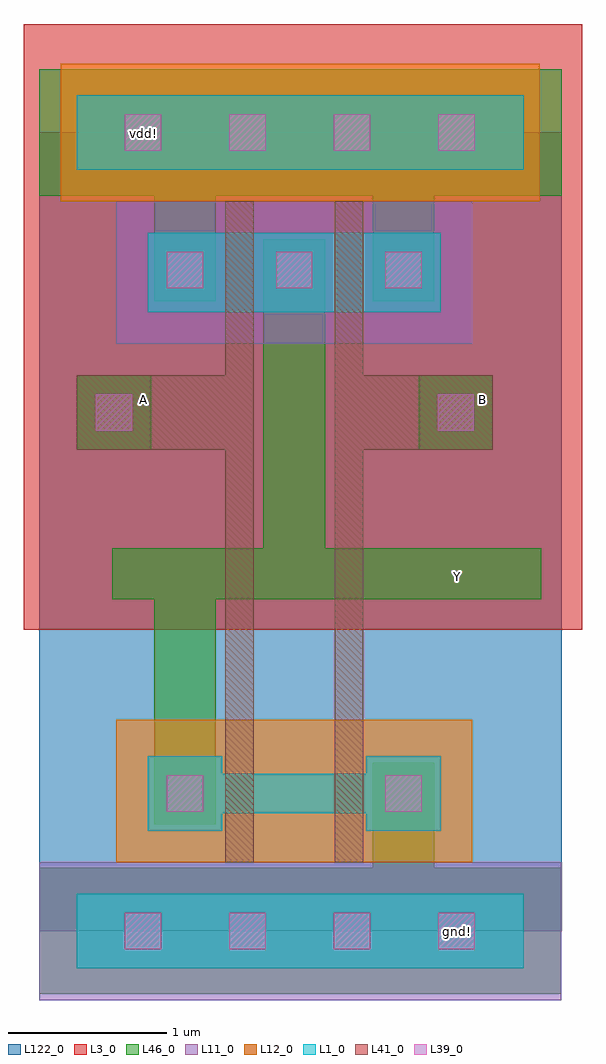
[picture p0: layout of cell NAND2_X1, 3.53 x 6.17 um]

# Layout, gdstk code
import gdstk
lib = gdstk.Library(unit=1e-6, precision=1e-09)
def R(c, l, rs):  # rectangles x0, y0, x1, y1
    for r in rs: c.add(gdstk.rectangle(r[:2], r[2:], *l))
def A(c, l, x, y, w, h, nx, ny, dx, dy):  # array of equal rectangles
    R(c, l, [(x+i*dx, y+j*dy, x+i*dx+w, y+j*dy+h) for i in range(nx) for j in range(ny)])
L1_0 = (1, 0)
L3_0 = (3, 0)
L11_0 = (11, 0)
L12_0 = (12, 0)
L39_0 = (39, 0)
L41_0 = (41, 0)
L46_0 = (46, 0)
L122_0 = (122, 0)

nand2_x1 = lib.new_cell('NAND2_X1')
R(nand2_x1, L1_0, [(0.235,-0.235,3.06,0.235), (0.685,0.635,1.155,1.105), (2.065,0.635,2.535,1.105), (0.685,0.745,2.535,0.995), (0.685,3.91,2.535,4.41), (0.235,4.81,3.06,5.28)])
R(nand2_x1, L3_0, [(-0.1,1.905,3.43,5.73)])
R(nand2_x1, L11_0, [(0,-0.435,3.295,0.435), (0.485,3.71,2.735,4.61)])
R(nand2_x1, L12_0, [(0.485,0.435,2.735,1.335), (0.135,4.61,3.16,5.48)])
A(nand2_x1, L39_0, 0.54, -0.115, 0.23, 0.23, 4, 2, 0.66, 5.045)
A(nand2_x1, L39_0, 0.805, 4.06, 0.23, 0.23, 3, 1, 0.69, 0)
R(nand2_x1, L39_0, [(0.805,0.755,1.035,0.985), (2.185,0.755,2.415,0.985), (0.355,3.16,0.585,3.39), (2.515,3.16,2.745,3.39)])
R(nand2_x1, L41_0, [(1.175,0.435,1.355,4.61), (1.865,0.435,2.045,4.61), (0.235,3.04,1.355,3.51), (1.865,3.04,2.865,3.51)])
R(nand2_x1, L46_0, [(0,-0.395,3.295,0.4), (2.105,-0.395,2.495,1.065), (0.725,0.675,1.115,2.415), (0.46,2.095,3.17,2.42), (1.415,2.095,1.805,4.37), (0.235,3.04,0.705,3.51), (2.395,3.04,2.865,3.51), (0.725,3.98,0.92,5.445), (0.92,3.98,1.115,5.445), (2.105,3.98,2.3,5.445), (2.3,3.98,2.495,5.445), (0,4.645,3.3,5.445)])
R(nand2_x1, L122_0, [(0,0,3.3,5.045)])
nand2_x1.add(gdstk.Label('gnd!', (2.64,0), layer=101, texttype=0))
nand2_x1.add(gdstk.Label('vdd!', (0.66,5.04), layer=101, texttype=0))
nand2_x1.add(gdstk.Label('Y', (2.64,2.24), layer=101, texttype=0))
nand2_x1.add(gdstk.Label('B', (2.8,3.36), layer=101, texttype=0))
nand2_x1.add(gdstk.Label('A', (0.66,3.36), layer=101, texttype=0))

lib.write_gds('NAND2_X1.gds')
